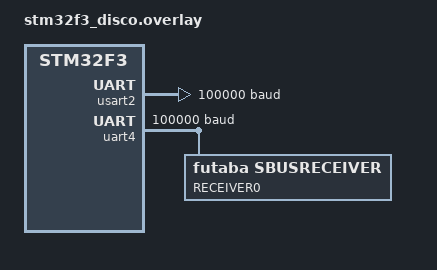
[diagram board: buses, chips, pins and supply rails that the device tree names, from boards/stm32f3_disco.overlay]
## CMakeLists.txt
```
# Find Zephyr. This also loads Zephyr's build system.
cmake_minimum_required(VERSION 3.20)

find_package(Zephyr REQUIRED HINTS $ENV{ZEPHYR_BASE})
project(rc_srxl2_sample)

target_sources(app PRIVATE src/main.c)
```

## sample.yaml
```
sample:
  name: Spektrum SRXL2 receiver example
  description:  |
    This application collects data from a connected Spektrum SRXL2
    reciever and prints it to the serial console.
tests:
  ffc.drivers.rc_in_srxl2:
    build_only: true
    platform_allow: openpilot_cc3d native_posix_64
```

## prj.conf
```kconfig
CONFIG_CONSOLE=y

CONFIG_SHELL=y
CONFIG_SHELL_MINIMAL=y
CONFIG_SETTINGS_SHELL=y

CONFIG_SENSOR=y
CONFIG_ZEPHLY_RC_COMMON=y
```

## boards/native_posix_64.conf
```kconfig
CONFIG_ZEPHLY_JOYSTICK_RC_DRIVER=y
```

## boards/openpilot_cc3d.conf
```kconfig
CONFIG_ZEPHLY_SRXL2_RC_DRIVER=y

CONFIG_FLASH=y
CONFIG_FLASH_PAGE_LAYOUT=y
CONFIG_FLASH_MAP=y
CONFIG_NVS=y
CONFIG_SETTINGS=y
CONFIG_SETTINGS_NVS=y
CONFIG_SETTINGS_DYNAMIC_HANDLERS=n
CONFIG_MPU_ALLOW_FLASH_WRITE=y

CONFIG_UART_CONSOLE=y
CONFIG_UART_INTERRUPT_DRIVEN=y

CONFIG_NEWLIB_LIBC=y
CONFIG_NEWLIB_LIBC_FLOAT_PRINTF=y
```

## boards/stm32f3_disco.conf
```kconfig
CONFIG_ZEPHLY_SBUS_RC_DRIVER=y
CONFIG_ZEPHLY_SBUS_LIB=y

CONFIG_FLASH=y
CONFIG_FLASH_PAGE_LAYOUT=y
CONFIG_FLASH_MAP=y
CONFIG_NVS=y
CONFIG_SETTINGS=y
CONFIG_SETTINGS_NVS=y
CONFIG_SETTINGS_DYNAMIC_HANDLERS=n
CONFIG_MPU_ALLOW_FLASH_WRITE=y

CONFIG_UART_CONSOLE=y
CONFIG_UART_INTERRUPT_DRIVEN=y

CONFIG_UART_ASYNC_API=y

CONFIG_NEWLIB_LIBC=y
CONFIG_NEWLIB_LIBC_FLOAT_PRINTF=y
```

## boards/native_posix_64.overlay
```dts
/ {
	rc: joystick {
		compatible = "zephly,joystickrc";
		label = "RECEIVER0";
		status = "okay";
	};
};
```

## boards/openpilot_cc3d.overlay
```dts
/ {
        chosen {
                zephyr,code-partition = &code_partition;
        };
};

&flash0 {
	status = "okay";
	partitions {
		compatible = "fixed-partitions";
		#address-cells = <1>;
		#size-cells = <1>;

		/* Reserve 80kB for the application */
		code_partition: partition@0 {
			label = "app";
			reg = <0 0x12000>;
			read-only;
		};

		/* Reserve 48kB for the settings*/
		storage_partition: partition@12000 {
			label = "storage";
			reg = <0x12000 0xE000>;
		};
	};
};
```

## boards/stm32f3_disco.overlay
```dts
/*
 * Copyright (c) 2022 Jonathan Hahn
 *
 * SPDX-License-Identifier: Apache-2.0
 */

&usart2 {
    current-speed = < 100000 >;
    parity = "even";
    tx-invert;
    dmas = <&dma1 1 0x0>;
    dma-names = "tx";
};

&uart4 {
    current-speed = < 100000 >;
    parity = "even";
    rx-invert;
    rc: sbus {
        compatible = "futaba,sbusreceiver";
        label = "RECEIVER0";
        status = "okay";
    };
};
```

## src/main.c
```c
#include <zephyr.h>
#include <device.h>
#include <devicetree.h>
#include <shell/shell.h>
#include <settings/settings.h>

#include "custom_drivers/rc.h"
#include "sys/util.h"

#define RC_IN DT_NODELABEL(rc)

const struct device *receiver = DEVICE_DT_GET(RC_IN);
struct Command rc_in;

static volatile bool do_print = true;

#if IS_ENABLED(CONFIG_SETTINGS)

static int cmd_save_settings(const struct shell *sh, size_t argc, char **argv) {
    settings_save();
    return 0;
}

SHELL_CMD_REGISTER(settings_save, NULL, "Save all parameters", cmd_save_settings);

#endif 

static int cmd_toggle_print(const struct shell *sh, size_t argc, char **argv) {
    do_print = !do_print;
    return 0;
}

SHELL_CMD_REGISTER(toggle_printing, NULL, "Toggle rc value print", cmd_toggle_print);

const uint8_t buf[25] = {0xFF, 0xE3, 0x83, 0xDE, 0x49, 0xB6, 0xC7, 0x0A, 0xF0, 0x81, 0x0F, 0x7C, 0xE0, 0x03, 0x1F, 0xF8, 0xC0, 0x07, 0x3E, 0xF0, 0x81, 0x4F, 0xCB, 0x00, 0x00};

void main() {

    // check for rc device
	if (!device_is_ready(receiver)) {
		printk("RC IN device not ready.\n");
		return;
	}

    int rc;

#if IS_ENABLED(CONFIG_SETTINGS)

    // check and initialize seetings
    rc = settings_subsys_init();
	if (rc) {
		printk("settings subsys initialization: fail (err %d)\n", rc);
		return;
	}

    rc = settings_load();
    if (rc) {
        printk("Failed loading settings from none volatile storage. Failed with error %d\n", rc);
    }
#endif 

    while (true)  {
        rc_update(receiver, &rc_in);
        if (do_print) {
            printk("Got roll: %d, pitch: %d, thrust: %d, yaw: %d, armed: %d\n", 
                (int)(rc_in.roll*100), (int)(rc_in.pitch*100), 
                (int)(rc_in.thrust*100), (int)(rc_in.yaw*100),
                (int)(rc_in.armed));
        }
        
        k_sleep(K_MSEC(200));
    }
}
```
